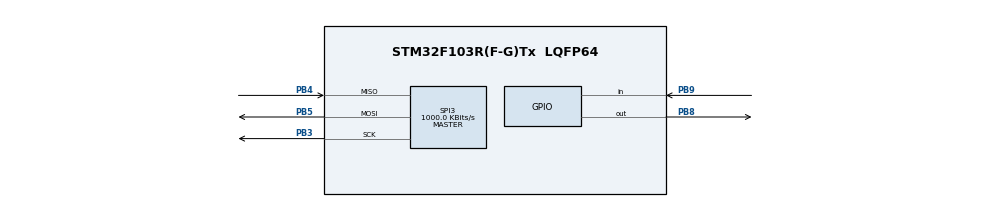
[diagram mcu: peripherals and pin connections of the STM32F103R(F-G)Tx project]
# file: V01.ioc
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Mcu.Family=STM32F1
Mcu.Name=STM32F103R(F-G)Tx
Mcu.Package=LQFP64
NVIC.PriorityGroup=NVIC_PRIORITYGROUP_4
PA13.Mode=Serial_Wire
PA13.Signal=SYS_JTMS-SWDIO
PA14.Mode=Serial_Wire
PA14.Signal=SYS_JTCK-SWCLK
PB3.Mode=Full_Duplex_Master
PB3.Signal=SPI3_SCK
PB4.Mode=Full_Duplex_Master
PB4.Signal=SPI3_MISO
PB5.Mode=Full_Duplex_Master
PB5.Signal=SPI3_MOSI
PB8.Signal=GPIO_Output
PB9.Signal=GPIO_Input
ProjectManager.TargetToolchain=SW4STM32
RCC.APB1Freq_Value=8000000
RCC.APB2Freq_Value=8000000
SPI3.BaudRatePrescaler=SPI_BAUDRATEPRESCALER_8
SPI3.CalculateBaudRate=1000.0 KBits/s
SPI3.Mode=SPI_MODE_MASTER
board=V01

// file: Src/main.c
/**
  ******************************************************************************
  * File Name          : main.c
  * Description        : Main program body
  ******************************************************************************
  *
  * COPYRIGHT(c) 2016 STMicroelectronics
  *
  * Redistribution and use in source and binary forms, with or without modification,
  * are permitted provided that the following conditions are met:
  *   1. Redistributions of source code must retain the above copyright notice,
  *      this list of conditions and the following disclaimer.
  *   2. Redistributions in binary form must reproduce the above copyright notice,
  *      this list of conditions and the following disclaimer in the documentation
  *      and/or other materials provided with the distribution.
  *   3. Neither the name of STMicroelectronics nor the names of its contributors
  *      may be used to endorse or promote products derived from this software
  *      without specific prior written permission.
  *
  * THIS SOFTWARE IS PROVIDED BY THE COPYRIGHT HOLDERS AND CONTRIBUTORS "AS IS"
  * AND ANY EXPRESS OR IMPLIED WARRANTIES, INCLUDING, BUT NOT LIMITED TO, THE
  * IMPLIED WARRANTIES OF MERCHANTABILITY AND FITNESS FOR A PARTICULAR PURPOSE ARE
  * DISCLAIMED. IN NO EVENT SHALL THE COPYRIGHT HOLDER OR CONTRIBUTORS BE LIABLE
  * FOR ANY DIRECT, INDIRECT, INCIDENTAL, SPECIAL, EXEMPLARY, OR CONSEQUENTIAL
  * DAMAGES (INCLUDING, BUT NOT LIMITED TO, PROCUREMENT OF SUBSTITUTE GOODS OR
  * SERVICES; LOSS OF USE, DATA, OR PROFITS; OR BUSINESS INTERRUPTION) HOWEVER
  * CAUSED AND ON ANY THEORY OF LIABILITY, WHETHER IN CONTRACT, STRICT LIABILITY,
  * OR TORT (INCLUDING NEGLIGENCE OR OTHERWISE) ARISING IN ANY WAY OUT OF THE USE
  * OF THIS SOFTWARE, EVEN IF ADVISED OF THE POSSIBILITY OF SUCH DAMAGE.
  *
  ******************************************************************************
  */
#include "stm32f1xx_hal.h"

/* USER CODE BEGIN Includes */
#include "string.h"

/* USER CODE END Includes */

SPI_HandleTypeDef hspi3;

/* USER CODE BEGIN PV */
/* Private variables ---------------------------------------------------------*/
uint32_t count=0,
ADC_RCV[1024],
CONF_STAT=0,
MODE_STAT=0,
CONT_CLK=0xFFFFFFFF;

uint16_t ADC_COUNT=0, SKIP_COUNT=0;

uint8_t ADC_RST[8]={0xFF,0xFF,0xFF,0xFF,0xFF,0xFF,0xFF,0xFF},
LED_ON[2]={0x28,0x11},
LED_OFF[2]={0x28,0x10},
READ_DATA=0x58,
READ_CONF=0b01010000,
READ_MODE=0b01001000,
WRITE_CONF[4]={0x10,0x00,0x41,0x10},
WRITE_MODE[4]={0b00001000,0b00011000,0b00000000,0b01100000},
ADC_VAL[5]={0,0,0,0,0},
ADC_NUM[1024];

/* USER CODE END PV */

void SystemClock_Config(void);
static void MX_GPIO_Init(void);
static void MX_SPI3_Init(void);

/* USER CODE BEGIN PFP */
/* Private function prototypes -----------------------------------------------*/

/* USER CODE END PFP */

int main(void)
{

  /* MCU Configuration----------------------------------------------------------*/

  /* Reset of all peripherals, Initializes the Flash interface and the Systick. */
  HAL_Init();

  /* Configure the system clock */
  SystemClock_Config();

  /* Initialize all configured peripherals */
  MX_GPIO_Init();
  MX_SPI3_Init();

  /* USER CODE BEGIN 2 */
    HAL_GPIO_WritePin(GPIOB,GPIO_PIN_8,GPIO_PIN_SET);
    for (count=0;count<100000;count++);
    HAL_GPIO_WritePin(GPIOB,GPIO_PIN_8,GPIO_PIN_RESET);
    HAL_SPI_Transmit(&hspi3,ADC_RST,5,1000);
    HAL_SPI_Transmit(&hspi3,WRITE_CONF,4,1000);
    while (HAL_GPIO_ReadPin(GPIOB,GPIO_PIN_9) == 1){SKIP_COUNT++;};
    HAL_SPI_Transmit(&hspi3,WRITE_MODE,4,1000);
    memset(ADC_RCV,0,sizeof(ADC_RCV));
    memset(ADC_NUM,0,sizeof(ADC_NUM));
//    HAL_SPI_Transmit(&hspi1,&READ_DATA,1,1000);

  /* USER CODE END 2 */

  /* Infinite loop */
  /* USER CODE BEGIN WHILE */
  while (1)
  {

    HAL_SPI_Transmit(&hspi3,LED_ON,2,1000);
    HAL_SPI_TransmitReceive(&hspi3,&READ_DATA,ADC_VAL,5,1000);
    HAL_SPI_Transmit(&hspi3,LED_OFF,2,1000);
    ADC_RCV[ADC_COUNT]=ADC_VAL[3] + (ADC_VAL[2]<<8) + (ADC_VAL[1]<<16);
    ADC_NUM[ADC_COUNT]=ADC_VAL[4];
    while (HAL_GPIO_ReadPin(GPIOB,GPIO_PIN_9) == 1){SKIP_COUNT++;};
    if (ADC_COUNT == 1024){ADC_COUNT = 0;};
    ADC_COUNT++;

  /* USER CODE END WHILE */

  }

}

/** System Clock Configuration
*/
void SystemClock_Config(void)
{

  RCC_OscInitTypeDef RCC_OscInitStruct;
  RCC_ClkInitTypeDef RCC_ClkInitStruct;

  RCC_OscInitStruct.OscillatorType = RCC_OSCILLATORTYPE_HSI;
  RCC_OscInitStruct.HSIState = RCC_HSI_ON;
  RCC_OscInitStruct.HSICalibrationValue = 16;
  RCC_OscInitStruct.PLL.PLLState = RCC_PLL_NONE;
  HAL_RCC_OscConfig(&RCC_OscInitStruct);

  RCC_ClkInitStruct.ClockType = RCC_CLOCKTYPE_HCLK|RCC_CLOCKTYPE_SYSCLK
                              |RCC_CLOCKTYPE_PCLK1|RCC_CLOCKTYPE_PCLK2;
  RCC_ClkInitStruct.SYSCLKSource = RCC_SYSCLKSOURCE_HSI;
  RCC_ClkInitStruct.AHBCLKDivider = RCC_SYSCLK_DIV1;
  RCC_ClkInitStruct.APB1CLKDivider = RCC_HCLK_DIV1;
  RCC_ClkInitStruct.APB2CLKDivider = RCC_HCLK_DIV1;
  HAL_RCC_ClockConfig(&RCC_ClkInitStruct, FLASH_LATENCY_0);

  HAL_SYSTICK_Config(HAL_RCC_GetHCLKFreq()/1000);

  HAL_SYSTICK_CLKSourceConfig(SYSTICK_CLKSOURCE_HCLK);

  /* SysTick_IRQn interrupt configuration */
  HAL_NVIC_SetPriority(SysTick_IRQn, 0, 0);
}

/* SPI3 init function */
void MX_SPI3_Init(void)
{

  hspi3.Instance = SPI3;
  hspi3.Init.Mode = SPI_MODE_MASTER;
  hspi3.Init.Direction = SPI_DIRECTION_2LINES;
  hspi3.Init.DataSize = SPI_DATASIZE_8BIT;
  hspi3.Init.CLKPolarity = SPI_POLARITY_LOW;
  hspi3.Init.CLKPhase = SPI_PHASE_1EDGE;
  hspi3.Init.NSS = SPI_NSS_SOFT;
  hspi3.Init.BaudRatePrescaler = SPI_BAUDRATEPRESCALER_8;
  hspi3.Init.FirstBit = SPI_FIRSTBIT_MSB;
  hspi3.Init.TIMode = SPI_TIMODE_DISABLE;
  hspi3.Init.CRCCalculation = SPI_CRCCALCULATION_DISABLE;
  hspi3.Init.CRCPolynomial = 10;
  HAL_SPI_Init(&hspi3);

}

/** Configure pins as
        * Analog
        * Input
        * Output
        * EVENT_OUT
        * EXTI
*/
void MX_GPIO_Init(void)
{

  GPIO_InitTypeDef GPIO_InitStruct;

  /* GPIO Ports Clock Enable */
  __HAL_RCC_GPIOA_CLK_ENABLE();
  __HAL_RCC_GPIOB_CLK_ENABLE();

  /*Configure GPIO pin Output Level */
  HAL_GPIO_WritePin(GPIOB, GPIO_PIN_8, GPIO_PIN_RESET);

  /*Configure GPIO pin : PB8 */
  GPIO_InitStruct.Pin = GPIO_PIN_8;
  GPIO_InitStruct.Mode = GPIO_MODE_OUTPUT_PP;
  GPIO_InitStruct.Speed = GPIO_SPEED_FREQ_LOW;
  HAL_GPIO_Init(GPIOB, &GPIO_InitStruct);

  /*Configure GPIO pin : PB9 */
  GPIO_InitStruct.Pin = GPIO_PIN_9;
  GPIO_InitStruct.Mode = GPIO_MODE_INPUT;
  GPIO_InitStruct.Pull = GPIO_NOPULL;
  HAL_GPIO_Init(GPIOB, &GPIO_InitStruct);

}

/************************ (C) COPYRIGHT STMicroelectronics *****END OF FILE****/
